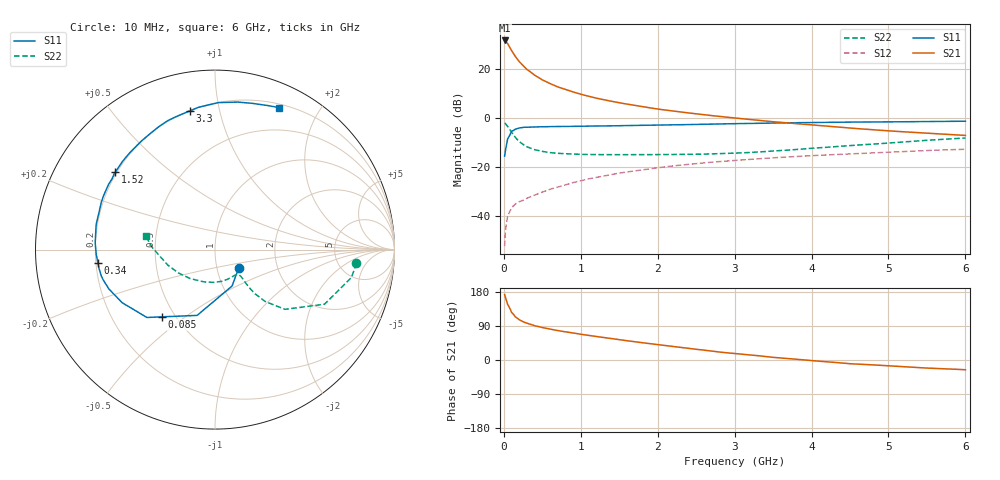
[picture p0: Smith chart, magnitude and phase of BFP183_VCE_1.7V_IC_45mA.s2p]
! (c) 2016  Infineon Technologies AG, Munich
! Infineon Technologies  Discrete & RF Semiconductors
! BFP183
! VCE = 1.7 V,  IC =  45 mA
! Common Emitter S-Parameters:  Jan 2016
# GHz  S  MA  R  50
!  f  S11  S21  S12  S22
! GHz  MAG  ANG  MAG  ANG  MAG  ANG  MAG  ANG
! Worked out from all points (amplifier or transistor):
!   210 points, 10 MHz to 6 GHz, reference 50 ohm
!   highest |S21| = 31.8 dB at 10 MHz (marker M1)
!   |S21| within 3 dB of that: start of sweep to 79.53 MHz
!   unconditionally stable (mu >= 1): start of sweep to 21.66 MHz; 244.8 MHz to end of sweep
!   at 185 MHz: K = 0.85, MSG = 29.1 dB, |S12| = -34.5 dB
!   at 1.52 GHz: K = 1.55, MAG = 9.9 dB, |S12| = -22.4 dB
!   at 6 GHz: K = 1.21, MAG = 0.1 dB, |S12| = -12.7 dB
!   S11 on the Smith chart (normalised r, x): 10 MHz: 1.27, -0.27; 85 MHz: 0.42, -0.41; 340 MHz: 0.21, -0.05; 1.52 GHz: 0.19, +0.33; 3.3 GHz: 0.20, +0.81; 6 GHz: 0.24, +1.52
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0.01  0.1674 -38.2  39.01 172.7  0.0024 72.8  0.7917 -5.5
0.02  0.2241 -64.9  38.31 165.6  0.0046 73.6  0.7763 -11.5
0.05  0.3799 -105.2  33.51 146.3  0.0099 66.3  0.6819 -26.5
0.085  0.4773 -128.3  26.66 133.3  0.0131 53.7  0.5594 -35.4
0.1  0.5358 -135.1  24.3 125.7  0.0146 50.1  0.5124 -40.5
0.15  0.5962 -150.3  18.26 113.7  0.0175 47.3  0.4003 -46.0
0.2  0.6303 -159.6  14.4 106.2  0.0195 47.0  0.3327 -47.8
0.24  0.6452 -164.8  12.29 102.1  0.0205 47.8  0.2981 -48.0
0.3  0.6545 -170.7  9.956 96.8  0.023 49.7  0.26 -47.6
0.34  0.6564 -173.5  8.997 94.6  0.0245 51.1  0.2467 -47.2
0.4  0.6621 -177.6  7.589 90.4  0.0267 52.8  0.2269 -46.5
0.5  0.6687 176.6  6.079 85.6  0.0307 54.3  0.2087 -46.0
0.6  0.6711 172.2  5.116 81.4  0.035 57.5  0.1973 -46.2
0.8  0.6771 164.4  3.86 74.3  0.043 59.7  0.1871 -47.9
1.02  0.6868 156.7  3.03 67.3  0.0532 59.9  0.1814 -51.6
1.52  0.7037 142.3  2.041 52.9  0.0758 58.3  0.1791 -63.4
2.02  0.7226 128.4  1.522 39.9  0.0974 53.9  0.1805 -78.5
3.1  0.7757 104.1  0.975 15.2  0.1401 43.1  0.1952 -117.2
3.3  0.7852 100.3  0.908 11.4  0.1473 41.0  0.2027 -124.5
4.1  0.8205 87.2  0.706 -3.2  0.1742 32.9  0.2476 -150.7
5.1  0.8426 74.7  0.538 -16.4  0.204 23.9  0.3175 -175.3
6  0.8671 65.9  0.444 -25.7  0.2312 14.6  0.3933 168.9
